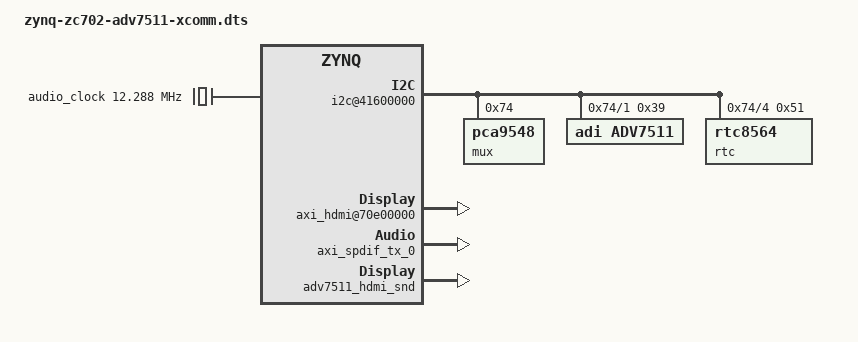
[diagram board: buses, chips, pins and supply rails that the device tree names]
/dts-v1/;

/include/ "zynq-zc702.dtsi"

/ {
	fpga_axi: fpga-axi@0 {
		compatible = "simple-bus";
		#address-cells = <0x1>;
		#size-cells = <0x1>;
		ranges;

		i2c@41600000 {
			compatible = "xlnx,axi-iic-1.02.a", "xlnx,xps-iic-2.00.a";
			interrupt-parent = <&gic>;
			interrupts = <0 58 4>;
			reg = <0x41600000 0x10000>;
			bus-id = <0>;
			#address-cells = <1>;
			#size-cells = <0>;

			mux@74 {
				compatible = "pca9548";
				reg = <0x74>;
				#address-cells = <1>;
				#size-cells = <0>;
				i2c@1 {
					#size-cells = <0>;
					#address-cells = <1>;
					reg = <1>;

					adv7511: adv7511@39 {
						compatible = "adi,adv7511";
						reg = <0x39>;

						adi,input-style = <0x02>;
						adi,input-id = <0x01>;
						adi,input-color-depth = <0x3>;
						adi,sync-pulse = <0x03>;
						adi,bit-justification = <0x01>;
						adi,up-conversion = <0x00>;
						adi,timing-generation-sequence = <0x00>;
						adi,vsync-polarity = <0x02>;
						adi,hsync-polarity = <0x02>;
						adi,tdms-clock-inversion;
						adi,clock-delay = <0x03>;
					};

				};

				i2c@4 {
					#size-cells = <0>;
					#address-cells = <1>;
					reg = <4>;
					rtc@51 {
						compatible = "rtc8564";
						reg = <0x51>;
					};
				};

				xcomm_i2c: i2c@5 {
					#size-cells = <0>;
					#address-cells = <1>;
					reg = <5>;

				};
			};

		};

		axi_vdma_0: axivdma@43200000 {
			#address-cells = <1>;
			#size-cells = <1>;
			#dma-cells = <1>;
			compatible = "xlnx,axi-vdma";
			reg = <0x43020000 0x1000>;
			xlnx,include-sg = <0x0>;
			xlnx,num-fstores = <0x3>;
			dma-channel@43000000 {
				compatible = "xlnx,axi-vdma-mm2s-channel";
				interrupts = <0 59 0x4>;
				xlnx,datawidth = <0x40>;
				xlnx,genlock-mode = <0x0>;
				xlnx,include-dre = <0x0>;
			};
		};

		hdmi_clock: axi-clkgen@79000000 {
			compatible = "adi,axi-clkgen-2.00.a";
			reg = <0x79000000 0x10000>;
			#clock-cells = <0>;
			clocks = <&clkc 17>;
		};

		axi_hdmi@70e00000 {
			compatible = "adi,axi-hdmi-tx-1.00.a";
			reg = <0x70e00000 0x10000>;
			encoder-slave = <&adv7511>;
			dmas = <&axi_vdma_0 0>;
			dma-names = "video";
			clocks = <&hdmi_clock>;
		};

		audio_clock: audio_clock {
			compatible = "fixed-clock";
			#clock-cells = <0>;
			clock-frequency = <12288000>;
		};

		axi_spdif_tx_0: axi-spdif-tx@0x75c00000 {
			compatible = "adi,axi-spdif-tx-1.00.a";
			reg = <0x75c00000 0x1000>;
			dmas = <&ps7_dma 0>;
			dma-names = "tx";
			clocks = <&clkc 15 &audio_clock>;
			clock-names = "axi", "spdif";
		};

		adv7511_hdmi_snd: adv7511_hdmi_snd {
			compatible = "adv7511-hdmi-snd";
			audio-codec = <&adv7511>;
			cpu-dai = <&axi_spdif_tx_0>;
		};

		rx_dma: dma@7c400000 {
			compatible = "adi,axi-dmac-1.00.a";
			reg = <0x7c400000 0x10000>;
			#dma-cells = <1>;
			interrupts = <0 57 0>;
			clocks = <&clkc 16>;

			dma-channel {
				adi,buswidth = <64>;
				adi,type = <0>;
			};
		};

		tx_dma: dma@7c420000 {
			compatible = "adi,axi-dmac-1.00.a";
			reg = <0x7c420000 0x10000>;
			#dma-cells = <1>;
			interrupts = <0 56 0>;
			clocks = <&clkc 16>;

			dma-channel {
				adi,buswidth = <64>;
				adi,type = <1>;
			};
		};

		cf_ad9643_core_0: cf-ad9643-core-lpc@79020000 {
			compatible = "adi,axi-ad9643-6.00.a";
			reg = <0x79020000 0x10000>;
			dmas = <&rx_dma 0>;
			dma-names = "rx";
			spibus-connected = <&adc0_ad9467>;
			xlnx,dphase-timeout = <0x8>;
			xlnx,num-mem = <0x1>;
			xlnx,num-reg = <0x1>;
			xlnx,s-axi-min-size = <0x1ff>;
			xlnx,slv-awidth = <0x20>;
			xlnx,slv-dwidth = <0x20>;
			xlnx,use-wstrb = <0x0>;
		};

		cf_ad9122_core_0: cf-ad9122-core-lpc@74204000 {
			compatible = "adi,axi-ad9122-6.00.a";
			reg = <0x74204000 0x10000>;
			spibus-connected = <&dac0_ad9122>;
			dmas = <&tx_dma 0>;
			dma-names = "tx";
			dac-sample-frequency = <491520000>;
			xlnx,dphase-timeout = <0x8>;
			xlnx,num-mem = <0x1>;
			xlnx,num-reg = <0x1>;
			xlnx,s-axi-min-size = <0x1ff>;
			xlnx,slv-awidth = <0x20>;
			xlnx,slv-dwidth = <0x20>;
			xlnx,use-wstrb = <0x0>;
		};
	};
};

/include/ "adi-fmcomms1.dtsi"
